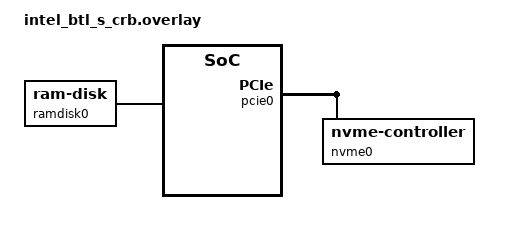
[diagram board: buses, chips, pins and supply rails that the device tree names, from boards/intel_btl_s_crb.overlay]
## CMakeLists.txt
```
# SPDX-License-Identifier: Apache-2.0

cmake_minimum_required(VERSION 3.28.0)
find_package(Zephyr REQUIRED HINTS $ENV{ZEPHYR_BASE})
project(disk_driver_test)

FILE(GLOB app_sources src/*.c)
target_sources(app PRIVATE ${app_sources})
```

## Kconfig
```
# SPDX-License-Identifier: Apache-2.0
# Copyright 2022 NXP

mainmenu "Disk driver performance test"

config MAIN_STACK_SIZE
	default 1280 if (MMC_STACK && IMX_USDHC)

source "Kconfig.zephyr"
```

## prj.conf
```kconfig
CONFIG_TEST=y
CONFIG_ZTEST=y
CONFIG_DISK_ACCESS=y
CONFIG_TIMING_FUNCTIONS=y
CONFIG_TEST_RANDOM_GENERATOR=y
```

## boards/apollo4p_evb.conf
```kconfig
CONFIG_MMC_STACK=y

CONFIG_MAIN_STACK_SIZE=8192
CONFIG_IDLE_STACK_SIZE=4096
CONFIG_PM=y
CONFIG_PM_DEVICE=y
CONFIG_PM_DEVICE_RUNTIME=y
```

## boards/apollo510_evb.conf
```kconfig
CONFIG_DISK_DRIVER_MMC=y
CONFIG_MMC_STACK=y
CONFIG_SDHC=y
CONFIG_MMC_SUBSYS=y

CONFIG_MAIN_STACK_SIZE=8192
CONFIG_IDLE_STACK_SIZE=4096
CONFIG_AMBIQ_SDIO_ASYNC=y
```

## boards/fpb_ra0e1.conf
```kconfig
# Copyright (c) 2026 Renesas Electronics Corporation
# SPDX-License-Identifier: Apache-2.0

# The device has 12 KB of SRAM, so the stacks are reduced to fit.
CONFIG_MAIN_STACK_SIZE=1408
CONFIG_ZTEST_STACK_SIZE=1024
CONFIG_ISR_STACK_SIZE=384
CONFIG_IDLE_STACK_SIZE=128
CONFIG_SYSTEM_WORKQUEUE_STACK_SIZE=512
```

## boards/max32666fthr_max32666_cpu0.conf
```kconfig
CONFIG_SDHC=y
```

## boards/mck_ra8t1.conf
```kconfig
CONFIG_DISK_DRIVER_SDMMC=y
CONFIG_GPIO=y
```

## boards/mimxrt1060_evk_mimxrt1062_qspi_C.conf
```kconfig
CONFIG_MAIN_STACK_SIZE=40960
```

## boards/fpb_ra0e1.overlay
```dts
/*
 * Copyright (c) 2026 Renesas Electronics Corporation
 * SPDX-License-Identifier: Apache-2.0
 *
 * A Digilent Pmod microSD plugged straight into the Pmod 1 connector, which carries the SPI00
 * signals and defaults to Pmod Type 2A (expanded SPI), so no jumper changes are needed:
 *
 *   PMOD1-1  CS    P103 (GPIO)      PMOD1-4  SCK   P102 / SCK00_A
 *   PMOD1-2  MOSI  P101 / SO00_A    PMOD1-5  GND
 *   PMOD1-3  MISO  P100 / SI00_A    PMOD1-6  VCC   +3.3 V
 *
 * SPI00 is SAU0 channel 0, which uart0 also uses, so the console moves to uart2.
 */

/ {
	aliases {
		sdhc0 = &sdcard;
	};

	chosen {
		zephyr,console = &uart2;
		zephyr,shell-uart = &uart2;
	};
};

&uart0 {
	status = "disabled";
};

&uart2 {
	status = "okay";
};

&ioport1 {
	status = "okay";
};

&spi00 {
	cs-gpios = <&ioport1 3 GPIO_ACTIVE_LOW>;
	status = "okay";

	sdcard: sdcard@0 {
		compatible = "zephyr,sdhc-spi-slot";
		reg = <0>;
		spi-max-frequency = <1000000>;
		status = "okay";

		sdmmc {
			compatible = "zephyr,sdmmc-disk";
			disk-name = "SD";
			status = "okay";
		};
	};
};
```

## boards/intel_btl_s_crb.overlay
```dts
/*
 * Copyright (c) 2025 Intel Corporation
 *
 * SPDX-License-Identifier: Apache-2.0
 */

/ {
	pcie0 {
		nvme0: nvme0 {
			compatible = "nvme-controller";

			vendor-id = <0x1B36>; /* Subjected to change base on Hardware used */
			device-id = <0x0010>; /* Subjected to change base on Hardware used */

			status = "okay";
		};
	};

	ramdisk0 {
		compatible = "zephyr,ram-disk";
		disk-name = "RAM";
		sector-size = <512>;
		sector-count = <192>;
	};
};
```

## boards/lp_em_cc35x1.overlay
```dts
/*
 * Copyright (c) 2026 Conclusive Engineering Sp. z o.o.
 *
 * SPDX-License-Identifier: Apache-2.0
 */

&sdhc {
	status = "okay";
};
```

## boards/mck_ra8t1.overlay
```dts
/*
 * Copyright (c) 2024 Renesas Electronics Corporation
 * SPDX-License-Identifier: Apache-2.0
 */

/ {
	aliases {
		sdhc0 = &sdmmc0;
	};
};
```

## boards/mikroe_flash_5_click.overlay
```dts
/*
 * SPDX-FileCopyrightText: Copyright (c) 2026 CodeWrights GmbH
 * SPDX-License-Identifier: Apache-2.0
 */

&spi_nand_mikroe_flash_5_click {
	partitions {
		compatible = "fixed-partitions";
		#address-cells = <1>;
		#size-cells = <1>;

		ftl_partition: partition@0 {
			reg = <0x00000000 DT_SIZE_M(128)>;
			label = "ftl";
		};
	};
};

/ {
	ftl {
		compatible = "zephyr,ftl-dhara";
		partition = <&ftl_partition>;
		disk-name = "NAND";
		buffer-size = <2048>;
	};
};
```

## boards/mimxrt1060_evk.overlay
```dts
/*
 * Copyright (c) 2025, NXP
 *
 * SPDX-License-Identifier: Apache-2.0
 */

/* Disable GPT timer and use systick for better timer accuracy
 */
&systick {
	status = "okay";
};

&gpt_hw_timer {
	status = "disabled";
};
```

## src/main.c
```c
/*
 * Copyright (c) 2021 NXP
 *
 * SPDX-License-Identifier: Apache-2.0
 */


#include <zephyr/kernel.h>
#include <zephyr/ztest.h>
#include <zephyr/storage/disk_access.h>
#include <zephyr/device.h>
#include <zephyr/timing/timing.h>
#include <zephyr/random/random.h>

#if defined(CONFIG_DISK_DRIVER_SDMMC)
#define DISK_NAME "SD"
#elif defined(CONFIG_DISK_DRIVER_MMC)
#define DISK_NAME "SD2"
#elif defined(CONFIG_NVME)
#define DISK_NAME "nvme0n0"
#elif defined(CONFIG_DISK_DRIVER_FTL)
#define DISK_NAME "NAND"
#elif defined(CONFIG_DISK_DRIVER_MEMC_RAM)
#define DISK_NAME "RAM"
#else
#error "No disk device defined, is your board supported?"
#endif

#define RAM_SIZE (DT_CHOSEN_SRAM_SIZE / 1024)

#if RAM_SIZE >= 512
/* Cap buffer size at 128 KiB */
#define MAX_TOTAL_BUF_SIZE 128
#elif CONFIG_SOC_POSIX
/* Posix does not define SRAM size */
#define MAX_TOTAL_BUF_SIZE 128
#else
/* Use half of all SRAM */
#define MAX_TOTAL_BUF_SIZE (RAM_SIZE / 2)
#endif

#define BUF_SIZE ((MAX_TOTAL_BUF_SIZE * 1024) / 2)

/* Number of sequential reads to get an average speed */
#define SEQ_ITERATIONS 10
/* Maximum number of random reads to get an IOPS calculation */
#define MAX_RANDOM_ITERATIONS 10

static uint32_t chosen_sectors[MAX_RANDOM_ITERATIONS];


static const char *disk_pdrv = DISK_NAME;
static uint32_t disk_sector_count;
static uint32_t disk_sector_size;

static uint32_t buf_sector_count;
static uint8_t test_buf[BUF_SIZE] __aligned(32);
static uint8_t backup_buf[BUF_SIZE] __aligned(32);

static bool disk_init_done;

/* Sets up test by initializing disk */
static void test_setup(void)
{
	int rc;
	uint32_t cmd_buf;

	rc = disk_access_init(disk_pdrv);
	zassert_equal(rc, 0, "Disk access initialization failed");

	rc = disk_access_status(disk_pdrv);
	zassert_equal(rc, DISK_STATUS_OK, "Disk status is not OK");

	rc = disk_access_ioctl(disk_pdrv, DISK_IOCTL_GET_SECTOR_COUNT, &cmd_buf);
	zassert_equal(rc, 0, "Disk ioctl get sector count failed");

	TC_PRINT("Disk reports %u sectors\n", cmd_buf);
	disk_sector_count = cmd_buf;

	rc = disk_access_ioctl(disk_pdrv, DISK_IOCTL_GET_SECTOR_SIZE, &cmd_buf);
	zassert_equal(rc, 0, "Disk ioctl get sector size failed");
	TC_PRINT("Disk reports sector size %u\n", cmd_buf);
	disk_sector_size = cmd_buf;

	buf_sector_count = BUF_SIZE / disk_sector_size;

	/* Verify that the buffer can hold at least one sector */
	zassert_true(buf_sector_count >= 1,
		"Test will fail, sector does not fit in buffer, buffer size must be increased");

	disk_init_done = true;
}

/* Helper function to time multiple sequential reads. Returns average time. */
static uint64_t read_helper(uint32_t num_blocks)
{
	int rc;
	timing_t start_time, end_time;
	uint64_t cycles, total_ns;

	/* Start the timing system */
	timing_init();
	timing_start();

	total_ns = 0;
	for (int i = 0; i < SEQ_ITERATIONS; i++) {
		start_time = timing_counter_get();

		/* Read from start of disk */
		rc = disk_access_read(disk_pdrv, test_buf, 0, num_blocks);

		end_time = timing_counter_get();

		zassert_equal(rc, 0, "disk read failed");

		cycles = timing_cycles_get(&start_time, &end_time);
		total_ns += timing_cycles_to_ns(cycles);
	}
	/* Stop timing system */
	timing_stop();
	/* Return average time */
	return (total_ns / SEQ_ITERATIONS);
}

ZTEST(disk_performance, test_sequential_read)
{
	uint64_t time_ns;

	if (!disk_init_done) {
		zassert_unreachable("Disk is not initialized");
	}

	/* Start with single sector read */
	time_ns = read_helper(1);

	TC_PRINT("Average read speed over one sector: %"PRIu64" KiB/s\n",
		((disk_sector_size * (NSEC_PER_SEC / time_ns))) / 1024);

	/* Now time long sequential read */
	time_ns = read_helper(buf_sector_count);

	TC_PRINT("Average read speed over %d sectors: %"PRIu64" KiB/s\n",
		buf_sector_count,
		((disk_sector_size * buf_sector_count) * (NSEC_PER_SEC / time_ns)) / 1024);
}

/* Helper function to time multiple sequential writes. Returns average time. */
static uint64_t write_helper(uint32_t num_blocks)
{
	int rc;
	timing_t start_time, end_time;
	uint64_t cycles, total_ns;

	/* Start the timing system */
	timing_init();
	timing_start();

	/* Read block we will overwrite, to back it up. */
	rc = disk_access_read(disk_pdrv, backup_buf, 0, num_blocks);
	zassert_equal(rc, 0, "disk read failed");

	/* Initialize write buffer with data */
	sys_rand_get(test_buf, num_blocks * disk_sector_size);

	total_ns = 0;
	for (int i = 0; i < SEQ_ITERATIONS; i++) {
		start_time = timing_counter_get();

		rc = disk_access_write(disk_pdrv, test_buf, 0, num_blocks);

		end_time = timing_counter_get();

		zassert_equal(rc, 0, "disk write failed");

		cycles = timing_cycles_get(&start_time, &end_time);
		total_ns += timing_cycles_to_ns(cycles);
	}
	/* Stop timing system */
	timing_stop();

	/* Replace block with backup */
	rc = disk_access_write(disk_pdrv, backup_buf, 0, num_blocks);
	zassert_equal(rc, 0, "disk write failed");
	/* Return average time */
	return (total_ns / SEQ_ITERATIONS);
}

ZTEST(disk_performance, test_sequential_write)
{
	uint64_t time_ns;

	if (!disk_init_done) {
		zassert_unreachable("Disk is not initialized");
	}

	/* Start with single sector write */
	time_ns = write_helper(1);

	TC_PRINT("Average write speed over one sector: %"PRIu64" KiB/s\n",
		((disk_sector_size * (NSEC_PER_SEC / time_ns))) / 1024);

	/* Now time long sequential write */
	time_ns = write_helper(buf_sector_count);

	TC_PRINT("Average write speed over %d sectors: %"PRIu64" KiB/s\n",
		buf_sector_count,
		((disk_sector_size * buf_sector_count) * (NSEC_PER_SEC / time_ns)) / 1024);
}

ZTEST(disk_performance, test_random_read)
{
	timing_t start_time, end_time;
	uint64_t cycles, total_ns;
	uint32_t sector;
	int rc = 0;
	uint32_t random_iterations = MIN(MAX_RANDOM_ITERATIONS, buf_sector_count);

	if (!disk_init_done) {
		zassert_unreachable("Disk is not initialized");
	}

	/* Build list of sectors to read from. */
	for (int i = 0; i < random_iterations; i++) {
		/* Get random num until we select a value within sector count */
		sector = sys_rand32_get() / ((UINT32_MAX / disk_sector_count) + 1);
		chosen_sectors[i] = sector;
	}

	/* Start the timing system */
	timing_init();
	timing_start();

	start_time = timing_counter_get();
	for (int i = 0; i < random_iterations; i++) {
		/*
		 * Note: we don't check return code here,
		 * we want to do I/O as fast as possible
		 */
		rc = disk_access_read(disk_pdrv, test_buf, chosen_sectors[i], 1);
	}
	end_time = timing_counter_get();
	zassert_equal(rc, 0, "Random read failed");
	cycles = timing_cycles_get(&start_time, &end_time);
	total_ns = timing_cycles_to_ns(cycles);
	/* Stop timing system */
	timing_stop();

	TC_PRINT("%d Byte IOPS over %d random reads: %"PRIu64" IOPS\n",
		disk_sector_size,
		random_iterations,
		((uint64_t)(((uint64_t)random_iterations)*
		((uint64_t)NSEC_PER_SEC)))
		/ total_ns);
}

ZTEST(disk_performance, test_random_write)
{
	timing_t start_time, end_time;
	uint64_t cycles, total_ns;
	uint32_t sector;
	int rc = 0;
	uint32_t random_iterations = MIN(MAX_RANDOM_ITERATIONS, buf_sector_count);

	if (!disk_init_done) {
		zassert_unreachable("Disk is not initialized");
	}

	/* Build list of sectors to read from. */
	for (int i = 0; i < random_iterations; i++) {
		/* Get random num until we select a value within sector count */
		sector = sys_rand32_get() / ((UINT32_MAX / disk_sector_count) + 1);
		chosen_sectors[i] = sector;
		/* Backup this sector */
		rc = disk_access_read(disk_pdrv, &backup_buf[i * disk_sector_size],
			sector, 1);
		zassert_equal(rc, 0, "disk read failed for random write backup");
	}

	/* Initialize write buffer with data */
	sys_rand_get(test_buf, BUF_SIZE);

	/* Start the timing system */
	timing_init();
	timing_start();

	start_time = timing_counter_get();
	for (int i = 0; i < random_iterations; i++) {
		/*
		 * Note: we don't check return code here,
		 * we want to do I/O as fast as possible
		 */
		rc = disk_access_write(disk_pdrv, &test_buf[i * disk_sector_size],
			chosen_sectors[i], 1);
	}
	end_time = timing_counter_get();
	zassert_equal(rc, 0, "Random write failed");
	cycles = timing_cycles_get(&start_time, &end_time);
	total_ns = timing_cycles_to_ns(cycles);
	/* Stop timing system */
	timing_stop();

	TC_PRINT("%d Byte IOPS over %d random writes: %"PRIu64" IOPS\n",
		disk_sector_size,
		random_iterations,
		((uint64_t)(((uint64_t)random_iterations)*
		((uint64_t)NSEC_PER_SEC)))
		/ total_ns);
	/* Restore backed up sectors */
	for (int i = 0; i < random_iterations; i++) {
		disk_access_write(disk_pdrv, &backup_buf[i * disk_sector_size],
			chosen_sectors[i], 1);
		zassert_equal(rc, 0, "failed to write backup sector to disk");
	}
}

static void *disk_setup(void)
{
	test_setup();

	return NULL;
}

ZTEST_SUITE(disk_performance, NULL, disk_setup, NULL, NULL, NULL);
```
